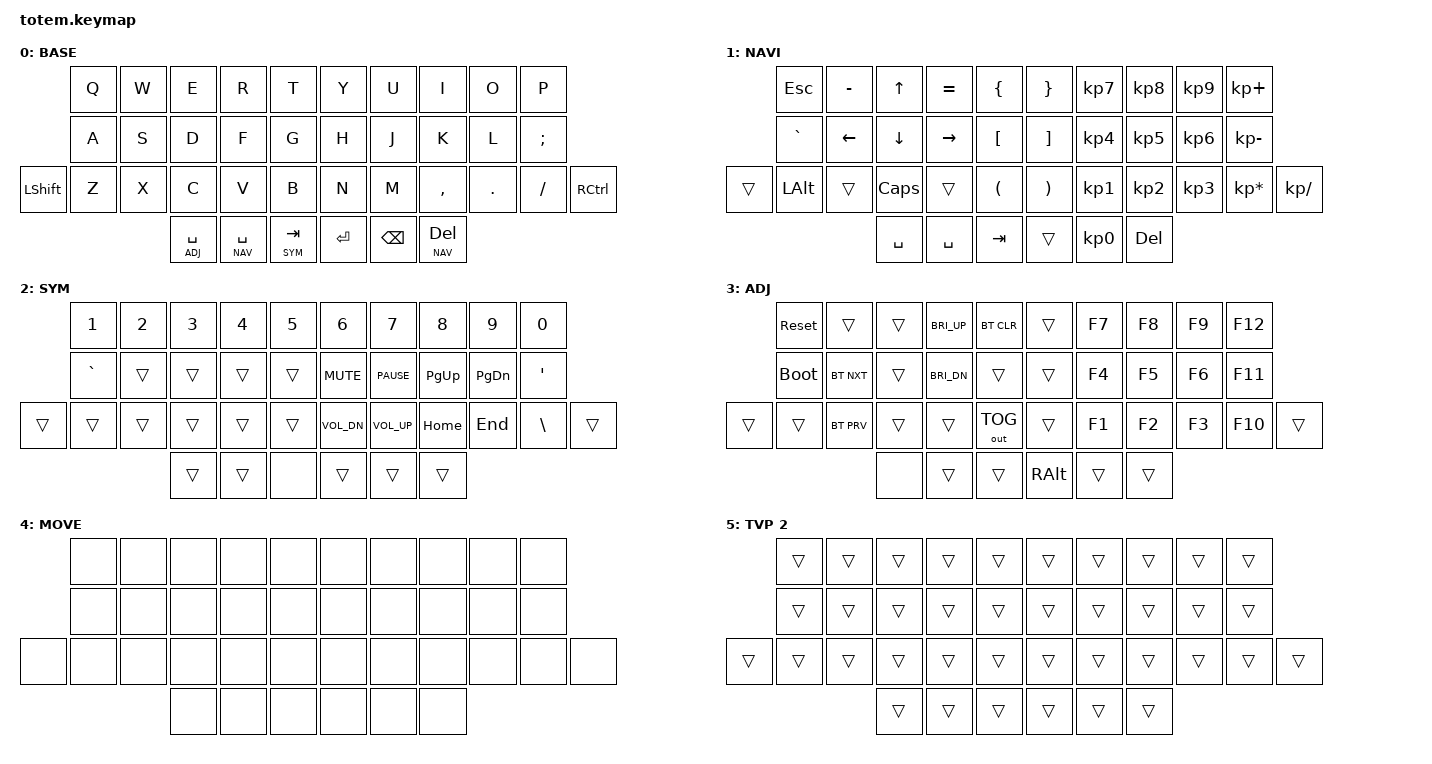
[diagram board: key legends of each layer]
//
//                                                        ▀▀▀▀▀     ▀▀▀▀▀          ▀▀█▀▀
//                                                        ▄▀▀▀▄  ▄  ▄▀▀▀▄  ▄  ▄▀▀▀▄  █  ▄▀▀▀▄
//                                                        █   █  █  █   █  █  █   █  █  █   █
//                                                         ▀▀▀   █   ▀▀▀   █   ▀▀▀   ▀   ▀▀▀
//                                                               █      ▄▄▄█▄▄▄    █   █  
//                                                               ▀      █  █  █     █▄█
//                                                             ▀▀▀▀▀    █  █  █      ▀
//                                                                      ▀  ▀  ▀
//
// ▄▄▄▄▄▄▄▄▄▄▄▄▄▄▄▄▄▄▄▄▄▄▄▄▄▄▄▄▄▄▄▄▄▄▄▄▄▄▄▄▄▄▄▄▄▄▄▄▄▄▄▄▄▄▄▄▄▄▄▄▄▄▄▄▄▄▄▄▄▄▄▄▄▄▄▄▄▄▄▄▄▄▄▄▄▄▄▄▄▄▄▄▄▄▄▄▄▄▄▄▄▄▄▄▄▄▄▄▄▄▄▄▄▄▄▄▄▄▄▄▄▄▄▄▄▄▄▄▄▄▄▄▄▄▄▄▄▄▄▄▄▄▄▄▄▄▄▄▄
       

#include <behaviors.dtsi>
#include <dt-bindings/zmk/keys.h>
#include <dt-bindings/zmk/bt.h>
#include <dt-bindings/zmk/outputs.h>

#define BASE 0
#define NAV  1
#define SYM  2
#define ADJ  3
#define MOV  4
#define TVP2 5

#define VOL_DWN C_VOL_DN
#define VOL_UP  C_VOL_UP
#define SPC     SPACE
#define KP_MNUS KP_MINUS
#define KP_MPLY KP_MULTIPLY

&mt {
  quick-tap-ms = <100>;
  global-quick-tap;
  flavor = "tap-preferred";
  tapping-term-ms = <170>;
};

/ {
     combos {
            compatible = "zmk,combos";
            combo_esc {
                timeout-ms = <50>;
                key-positions = <0 1>;
                bindings = <&kp ESC>;
            };
            combo_tvp {
                timeout-ms = <100>;
                key-positions = <11 12 13>;
                bindings = <&tog TVP2>;
            };
    };

    macros {
        gif: gif {
            label = "giphy";
            compatible = "zmk,behavior-macro";
            #binding-cells = <0>;
            bindings
                = <&macro_press &kp LSHFT>
                , <&macro_tap &kp N2>
                , <&macro_release &kp LSHFT>
                , <&macro_tap &kp G &kp I &kp F>
                ;
        };
    };

        keymap {
                compatible = "zmk,keymap";
// ▄▄▄▄▄▄▄▄▄▄▄▄▄▄▄▄▄▄▄▄▄▄▄▄▄▄▄▄▄▄▄▄▄▄▄▄▄▄▄▄▄▄▄▄▄▄▄▄▄▄▄▄▄▄▄▄▄▄▄▄▄▄▄▄▄▄▄▄▄▄▄▄▄▄▄▄▄▄▄▄▄▄▄▄▄▄▄▄▄▄▄▄▄▄▄▄▄▄▄▄▄▄▄▄▄▄▄▄▄▄▄▄▄▄▄▄▄▄▄▄▄▄▄▄▄▄▄▄▄▄▄▄▄▄▄▄▄▄▄▄▄▄▄▄▄▄▄▄▄

                base_layer {
// ┏━━━━━━━━━━━━━━━━━━━━━━━━━━━━━━━━━━━━━━━┓
label= "BASE"                              ;
// ┗━━━━━━━━━━━━━━━━━━━━━━━━━━━━━━━━━━━━━━━┛
//             ┏━━━━━━━━━━━┳━━━━━━━━━━━┳━━━━━━━━━━━┳━━━━━━━━━━━┳━━━━━━━━━━━┓   ┏━━━━━━━━━━━┳━━━━━━━━━━━┳━━━━━━━━━━━┳━━━━━━━━━━━┳━━━━━━━━━━━┓
//             ┃     Q     ┃     W     ┃     E     ┃     R     ┃     T     ┃   ┃     Y     ┃     U     ┃     I     ┃     O     ┃     P     ┃
//             ┣━━━━━━━━━━━╋━━━━━━━━━━━╋━━━━━━━━━━━╋━━━━━━━━━━━╋━━━━━━━━━━━┫   ┣━━━━━━━━━━━╋━━━━━━━━━━━╋━━━━━━━━━━━╋━━━━━━━━━━━╋━━━━━━━━━━━┫
//             ┃     A     ┃     S     ┃     D     ┃     F     ┃     G     ┃   ┃     H     ┃     J     ┃     K     ┃     L     ┃     ;     ┃
// ┏━━━━━━━━━━━╋━━━━━━━━━━━╋━━━━━━━━━━━╋━━━━━━━━━━━╋━━━━━━━━━━━╋━━━━━━━━━━━┫   ┣━━━━━━━━━━━╋━━━━━━━━━━━╋━━━━━━━━━━━╋━━━━━━━━━━━╋━━━━━━━━━━━╋━━━━━━━━━━━┓
// ┃   SHIFT   ┃     Z     ┃     X     ┃     C     ┃     V     ┃     B     ┃   ┃     N     ┃     M     ┃     ,     ┃     .     ┃     /     ┃   CTRL    ┃
// ┗━━━━━━━━━━━┻━━━━━━━━━━━┻━━━━━━━━━━━╋━━━━━━━━━━━╋━━━━━━━━━━━╋━━━━━━━━━━━┫   ┣━━━━━━━━━━━╋━━━━━━━━━━━╋━━━━━━━━━━━╋━━━━━━━━━━━┻━━━━━━━━━━━┻━━━━━━━━━━━┛
//                                     ┃    ADJ    ┃    NAV    ┃    SYM    ┃   ┃           ┃    MOV    ┃    NAV    ┃
//                                     ┃    SPC    ┃    SPC    ┃    TAB    ┃   ┃   ENTER   ┃   BSPC    ┃    DEL    ┃
//                                     ┗━━━━━━━━━━━┻━━━━━━━━━━━┻━━━━━━━━━━━┛   ┗━━━━━━━━━━━┻━━━━━━━━━━━┻━━━━━━━━━━━┛
 bindings = <
// ╷           ╷           ╷           ╷           ╷           ╷           ╷   ╷           ╷           ╷           ╷           ╷           ╷           ╷

                &kp Q       &kp W       &kp E       &kp R       &kp T           &kp Y       &kp U       &kp I       &kp O       &kp P
                &kp A       &kp S       &kp D       &kp F       &kp G           &kp H       &kp J       &kp K       &kp L       &kp SEMI
    &kp LSHFT   &kp Z       &kp X       &kp C       &kp V       &kp B           &kp N       &kp M       &kp COMMA   &kp DOT     &kp FSLH    &kp RCTRL
                                        &lt ADJ SPC &lt NAV SPC &lt SYM TAB     &kp RET     &kp BSPC    &lt NAV DEL
                        >;
                };

// ▄▄▄▄▄▄▄▄▄▄▄▄▄▄▄▄▄▄▄▄▄▄▄▄▄▄▄▄▄▄▄▄▄▄▄▄▄▄▄▄▄▄▄▄▄▄▄▄▄▄▄▄▄▄▄▄▄▄▄▄▄▄▄▄▄▄▄▄▄▄▄▄▄▄▄▄▄▄▄▄▄▄▄▄▄▄▄▄▄▄▄▄▄▄▄▄▄▄▄▄▄▄▄▄▄▄▄▄▄▄▄▄▄▄▄▄▄▄▄▄▄▄▄▄▄▄▄▄▄▄▄▄▄▄▄▄▄▄▄▄▄▄▄▄▄▄▄▄▄


                nav_layer {
// ┏━━━━━━━━━━━━━━━━━━━━━━━━━━━━━━━━━━━━━━━┓
label= "NAVI"                              ;
// ┗━━━━━━━━━━━━━━━━━━━━━━━━━━━━━━━━━━━━━━━┛             NAV                                               NAV
//             ┏━━━━━━━━━━━┳━━━━━━━━━━━┳━━━━━━━━━━━┳━━━━━━━━━━━┳━━━━━━━━━━━┓   ┏━━━━━━━━━━━┳━━━━━━━━━━━┳━━━━━━━━━━━┳━━━━━━━━━━━┳━━━━━━━━━━━┓
//             ┃    ESC    ┃    -      ┃     UP    ┃     =     ┃     {     ┃   ┃     }     ┃     7     ┃     8     ┃     9     ┃     +     ┃
//             ┣━━━━━━━━━━━╋━━━━━━━━━━━╋━━━━━━━━━━━╋━━━━━━━━━━━╋━━━━━━━━━━━┫   ┣━━━━━━━━━━━╋━━━━━━━━━━━╋━━━━━━━━━━━╋━━━━━━━━━━━╋━━━━━━━━━━━┫
//             ┃     `     ┃   LEFT    ┃    DOWN   ┃   RIGHT   ┃     [     ┃   ┃     ]     ┃     4     ┃     5     ┃     6     ┃     -     ┃
// ┏━━━━━━━━━━━╋━━━━━━━━━━━╋━━━━━━━━━━━╋━━━━━━━━━━━╋━━━━━━━━━━━╋━━━━━━━━━━━┫   ┣━━━━━━━━━━━╋━━━━━━━━━━━╋━━━━━━━━━━━╋━━━━━━━━━━━╋━━━━━━━━━━━╋━━━━━━━━━━━┓
// ┃           ┃    ALT    ┃           ┃  C LOCK   ┃           ┃     (     ┃   ┃     )     ┃     1     ┃     2     ┃     3     ┃     *     ┃     /     ┃
// ┗━━━━━━━━━━━┻━━━━━━━━━━━┻━━━━━━━━━━━╋━━━━━━━━━━━╋━━━━━━━━━━━╋━━━━━━━━━━━┫   ┣━━━━━━━━━━━╋━━━━━━━━━━━╋━━━━━━━━━━━╋━━━━━━━━━━━┻━━━━━━━━━━━┻━━━━━━━━━━━┛
//                                     ┃   SPACE   ┃ {[SPACE]} ┃    TAB    ┃   ┃    RET    ┃     0     ┃  {[DEL]}  ┃
//                                     ┗━━━━━━━━━━━┻━━━━━━━━━━━┻━━━━━━━━━━━┛   ┗━━━━━━━━━━━┻━━━━━━━━━━━┻━━━━━━━━━━━┛
 bindings = <
// ╷           ╷           ╷           ╷           ╷           ╷           ╷   ╷           ╷           ╷           ╷           ╷           ╷           ╷

                &kp ESC     &kp MINUS   &kp UP      &kp EQUAL   &kp LBRC        &kp RBRC    &kp KP_N7   &kp KP_N8   &kp KP_N9   &kp KP_PLUS
                &kp GRAVE   &kp LEFT    &kp DOWN    &kp RIGHT   &kp LBKT        &kp RBKT    &kp KP_N4   &kp KP_N5   &kp KP_N6   &kp KP_MNUS
    &trans      &kp LALT    &trans      &kp CAPS    &trans      &kp LPAR        &kp RPAR    &kp KP_N1   &kp KP_N2   &kp KP_N3   &kp KP_MPLY &kp KP_DIVIDE    
                                        &kp SPACE   &kp SPACE   &kp TAB         &trans      &kp KP_N0   &kp DEL
                        >;
                };

// ▄▄▄▄▄▄▄▄▄▄▄▄▄▄▄▄▄▄▄▄▄▄▄▄▄▄▄▄▄▄▄▄▄▄▄▄▄▄▄▄▄▄▄▄▄▄▄▄▄▄▄▄▄▄▄▄▄▄▄▄▄▄▄▄▄▄▄▄▄▄▄▄▄▄▄▄▄▄▄▄▄▄▄▄▄▄▄▄▄▄▄▄▄▄▄▄▄▄▄▄▄▄▄▄▄▄▄▄▄▄▄▄▄▄▄▄▄▄▄▄▄▄▄▄▄▄▄▄▄▄▄▄▄▄▄▄▄▄▄▄▄▄▄▄▄▄▄▄▄


                sim_layer {
// ┏━━━━━━━━━━━━━━━━━━━━━━━━━━━━━━━━━━━━━━━┓
label= "SYM"                               ;
// ┗━━━━━━━━━━━━━━━━━━━━━━━━━━━━━━━━━━━━━━━┛                        SYM
//             ┏━━━━━━━━━━━┳━━━━━━━━━━━┳━━━━━━━━━━━┳━━━━━━━━━━━┳━━━━━━━━━━━┓   ┏━━━━━━━━━━━┳━━━━━━━━━━━┳━━━━━━━━━━━┳━━━━━━━━━━━┳━━━━━━━━━━━┓
//             ┃     1     ┃     2     ┃     3     ┃     4     ┃     5     ┃   ┃     6     ┃     7     ┃     8     ┃     9     ┃     0     ┃
//             ┣━━━━━━━━━━━╋━━━━━━━━━━━╋━━━━━━━━━━━╋━━━━━━━━━━━╋━━━━━━━━━━━┫   ┣━━━━━━━━━━━╋━━━━━━━━━━━╋━━━━━━━━━━━╋━━━━━━━━━━━╋━━━━━━━━━━━┫
//             ┃     `     ┃           ┃           ┃           ┃           ┃   ┃   MUTE    ┃   PAUSE   ┃   PG UP   ┃   PG DN   ┃     '     ┃
// ┏━━━━━━━━━━━╋━━━━━━━━━━━╋━━━━━━━━━━━╋━━━━━━━━━━━╋━━━━━━━━━━━╋━━━━━━━━━━━┫   ┣━━━━━━━━━━━╋━━━━━━━━━━━╋━━━━━━━━━━━╋━━━━━━━━━━━╋━━━━━━━━━━━╋━━━━━━━━━━━┓
// ┃           ┃           ┃           ┃           ┃           ┃           ┃   ┃   VOL-    ┃   VOL+    ┃   HOME    ┃    END    ┃     \     ┃           ┃
// ┗━━━━━━━━━━━┻━━━━━━━━━━━┻━━━━━━━━━━━╋━━━━━━━━━━━╋━━━━━━━━━━━╋━━━━━━━━━━━┫   ┣━━━━━━━━━━━╋━━━━━━━━━━━╋━━━━━━━━━━━╋━━━━━━━━━━━┻━━━━━━━━━━━┻━━━━━━━━━━━┛
//                                     ┃           ┃           ┃  {[()]}   ┃   ┃           ┃           ┃           ┃
//                                     ┗━━━━━━━━━━━┻━━━━━━━━━━━┻━━━━━━━━━━━┛   ┗━━━━━━━━━━━┻━━━━━━━━━━━┻━━━━━━━━━━━┛
 bindings = <
// ╷           ╷           ╷           ╷           ╷           ╷           ╷   ╷           ╷           ╷           ╷           ╷           ╷           ╷

                &kp N1      &kp N2      &kp N3      &kp N4      &kp N5          &kp N6      &kp N7         &kp N8     &kp N9       &kp N0
                &kp GRAVE   &trans      &trans      &trans      &trans          &kp C_MUTE  &kp C_PAUSE    &kp PG_UP  &kp PG_DN    &kp APOS
    &trans      &trans      &trans      &trans      &trans      &trans          &kp VOL_DWN &kp VOL_UP     &kp HOME   &kp END      &kp BSLH   &trans
                                        &trans      &trans      &none           &trans      &trans         &trans
                        >;
                };

// ▄▄▄▄▄▄▄▄▄▄▄▄▄▄▄▄▄▄▄▄▄▄▄▄▄▄▄▄▄▄▄▄▄▄▄▄▄▄▄▄▄▄▄▄▄▄▄▄▄▄▄▄▄▄▄▄▄▄▄▄▄▄▄▄▄▄▄▄▄▄▄▄▄▄▄▄▄▄▄▄▄▄▄▄▄▄▄▄▄▄▄▄▄▄▄▄▄▄▄▄▄▄▄▄▄▄▄▄▄▄▄▄▄▄▄▄▄▄▄▄▄▄▄▄▄▄▄▄▄▄▄▄▄▄▄▄▄▄▄▄▄▄▄▄▄▄▄▄▄


                adjust_layer {
// ┏━━━━━━━━━━━━━━━━━━━━━━━━━━━━━━━━━━━━━━━┓
label= "ADJ"                               ;
// ┗━━━━━━━━━━━━━━━━━━━━━━━━━━━━━━━━━━━━━━━┛ADJ
//             ┏━━━━━━━━━━━┳━━━━━━━━━━━┳━━━━━━━━━━━┳━━━━━━━━━━━┳━━━━━━━━━━━┓   ┏━━━━━━━━━━━┳━━━━━━━━━━━┳━━━━━━━━━━━┳━━━━━━━━━━━┳━━━━━━━━━━━┓
//             ┃   RESET   ┃           ┃           ┃  BRI UP   ┃  BT CLEAR ┃   ┃           ┃    F7     ┃    F8     ┃    F9     ┃    F12    ┃
//             ┣━━━━━━━━━━━╋━━━━━━━━━━━╋━━━━━━━━━━━╋━━━━━━━━━━━╋━━━━━━━━━━━┫   ┣━━━━━━━━━━━╋━━━━━━━━━━━╋━━━━━━━━━━━╋━━━━━━━━━━━╋━━━━━━━━━━━┫
//             ┃ BOOTLOAD  ┃ BT NEXT   ┃           ┃  BRI DN   ┃           ┃   ┃           ┃    F4     ┃    F5     ┃    F6     ┃    F11    ┃
// ┏━━━━━━━━━━━╋━━━━━━━━━━━╋━━━━━━━━━━━╋━━━━━━━━━━━╋━━━━━━━━━━━╋━━━━━━━━━━━┫   ┣━━━━━━━━━━━╋━━━━━━━━━━━╋━━━━━━━━━━━╋━━━━━━━━━━━╋━━━━━━━━━━━╋━━━━━━━━━━━┓
// ┃           ┃           ┃ BT PREV   ┃           ┃           ┃  OUT TOG  ┃   ┃           ┃    F1     ┃    F2     ┃    F3     ┃    F10    ┃           ┃
// ┗━━━━━━━━━━━┻━━━━━━━━━━━┻━━━━━━━━━━━╋━━━━━━━━━━━╋━━━━━━━━━━━╋━━━━━━━━━━━┫   ┣━━━━━━━━━━━╋━━━━━━━━━━━╋━━━━━━━━━━━╋━━━━━━━━━━━┻━━━━━━━━━━━┻━━━━━━━━━━━┛
//                                     ┃  {[()]}   ┃           ┃           ┃   ┃    ALT    ┃           ┃           ┃
//                                     ┗━━━━━━━━━━━┻━━━━━━━━━━━┻━━━━━━━━━━━┛   ┗━━━━━━━━━━━┻━━━━━━━━━━━┻━━━━━━━━━━━┛
 bindings = <
// ╷           ╷           ╷           ╷           ╷           ╷           ╷   ╷           ╷           ╷           ╷           ╷           ╷           ╷

                &sys_reset  &trans      &trans     &kp C_BRI_UP &bt BT_CLR      &trans      &kp F7      &kp F8      &kp F9      &kp F12
                &bootloader &bt BT_NXT  &trans     &kp C_BRI_DN &trans          &trans      &kp F4      &kp F5      &kp F6      &kp F11
    &trans      &trans      &bt BT_PRV  &trans     &trans       &out OUT_TOG    &trans      &kp F1      &kp F2      &kp F3      &kp F10     &trans
                                        &none      &trans       &trans          &kp RALT    &trans      &trans
                        >;
                };

// ▄▄▄▄▄▄▄▄▄▄▄▄▄▄▄▄▄▄▄▄▄▄▄▄▄▄▄▄▄▄▄▄▄▄▄▄▄▄▄▄▄▄▄▄▄▄▄▄▄▄▄▄▄▄▄▄▄▄▄▄▄▄▄▄▄▄▄▄▄▄▄▄▄▄▄▄▄▄▄▄▄▄▄▄▄▄▄▄▄▄▄▄▄▄▄▄▄▄▄▄▄▄▄▄▄▄▄▄▄▄▄▄▄▄▄▄▄▄▄▄▄▄▄▄▄▄▄▄▄▄▄▄▄▄▄▄▄▄▄▄▄▄▄▄▄▄▄▄▄


                move_layer {
// ┏━━━━━━━━━━━━━━━━━━━━━━━━━━━━━━━━━━━━━━━┓
label= "MOVE"                              ;
// ┗━━━━━━━━━━━━━━━━━━━━━━━━━━━━━━━━━━━━━━━┛
//             ┏━━━━━━━━━━━┳━━━━━━━━━━━┳━━━━━━━━━━━┳━━━━━━━━━━━┳━━━━━━━━━━━┓   ┏━━━━━━━━━━━┳━━━━━━━━━━━┳━━━━━━━━━━━┳━━━━━━━━━━━┳━━━━━━━━━━━┓
//             ┃           ┃           ┃           ┃           ┃           ┃   ┃           ┃           ┃           ┃           ┃           ┃
//             ┣━━━━━━━━━━━╋━━━━━━━━━━━╋━━━━━━━━━━━╋━━━━━━━━━━━╋━━━━━━━━━━━┫   ┣━━━━━━━━━━━╋━━━━━━━━━━━╋━━━━━━━━━━━╋━━━━━━━━━━━╋━━━━━━━━━━━┫
//             ┃           ┃           ┃           ┃           ┃           ┃   ┃           ┃           ┃           ┃           ┃           ┃
// ┏━━━━━━━━━━━╋━━━━━━━━━━━╋━━━━━━━━━━━╋━━━━━━━━━━━╋━━━━━━━━━━━╋━━━━━━━━━━━┫   ┣━━━━━━━━━━━╋━━━━━━━━━━━╋━━━━━━━━━━━╋━━━━━━━━━━━╋━━━━━━━━━━━╋━━━━━━━━━━━┓
// ┃           ┃           ┃           ┃           ┃           ┃           ┃   ┃           ┃           ┃           ┃           ┃           ┃           ┃
// ┗━━━━━━━━━━━┻━━━━━━━━━━━┻━━━━━━━━━━━╋━━━━━━━━━━━╋━━━━━━━━━━━╋━━━━━━━━━━━┫   ┣━━━━━━━━━━━╋━━━━━━━━━━━╋━━━━━━━━━━━╋━━━━━━━━━━━┻━━━━━━━━━━━┻━━━━━━━━━━━┛
//                                     ┃           ┃           ┃           ┃   ┃           ┃  {[()]}   ┃           ┃
//                                     ┗━━━━━━━━━━━┻━━━━━━━━━━━┻━━━━━━━━━━━┛   ┗━━━━━━━━━━━┻━━━━━━━━━━━┻━━━━━━━━━━━┛
 bindings = <
// ╷           ╷           ╷           ╷           ╷           ╷           ╷   ╷           ╷           ╷           ╷           ╷           ╷           ╷

                &none       &none       &none       &none       &none           &none       &none       &none       &none       &none
                &none       &none       &none       &none       &none           &none       &none       &none       &none       &none
    &none       &none       &none       &none       &none       &none           &none       &none       &none       &none       &none       &none        
                                        &none       &none       &none           &none       &none       &none    
                        >;
                };

// ▄▄▄▄▄▄▄▄▄▄▄▄▄▄▄▄▄▄▄▄▄▄▄▄▄▄▄▄▄▄▄▄▄▄▄▄▄▄▄▄▄▄▄▄▄▄▄▄▄▄▄▄▄▄▄▄▄▄▄▄▄▄▄▄▄▄▄▄▄▄▄▄▄▄▄▄▄▄▄▄▄▄▄▄▄▄▄▄▄▄▄▄▄▄▄▄▄▄▄▄▄▄▄▄▄▄▄▄▄▄▄▄▄▄▄▄▄▄▄▄▄▄▄▄▄▄▄▄▄▄▄▄▄▄▄▄▄▄▄▄▄▄▄▄▄▄▄▄▄


                tvp2_layer {
// ┏━━━━━━━━━━━━━━━━━━━━━━━━━━━━━━━━━━━━━━━┓
label= "TVP 2"                             ;
// ┗━━━━━━━━━━━━━━━━━━━━━━━━━━━━━━━━━━━━━━━┛
//             ┏━━━━━━━━━━━┳━━━━━━━━━━━┳━━━━━━━━━━━┳━━━━━━━━━━━┳━━━━━━━━━━━┓   ┏━━━━━━━━━━━┳━━━━━━━━━━━┳━━━━━━━━━━━┳━━━━━━━━━━━┳━━━━━━━━━━━┓
//             ┃           ┃           ┃           ┃           ┃           ┃   ┃           ┃           ┃           ┃           ┃           ┃
//             ┣━━━━━━━━━━━╋━━━━━━━━━━━╋━━━━━━━━━━━╋━━━━━━━━━━━╋━━━━━━━━━━━┫   ┣━━━━━━━━━━━╋━━━━━━━━━━━╋━━━━━━━━━━━╋━━━━━━━━━━━╋━━━━━━━━━━━┫
//             ┃           ┃           ┃           ┃           ┃           ┃   ┃           ┃           ┃           ┃           ┃           ┃
// ┏━━━━━━━━━━━╋━━━━━━━━━━━╋━━━━━━━━━━━╋━━━━━━━━━━━╋━━━━━━━━━━━╋━━━━━━━━━━━┫   ┣━━━━━━━━━━━╋━━━━━━━━━━━╋━━━━━━━━━━━╋━━━━━━━━━━━╋━━━━━━━━━━━╋━━━━━━━━━━━┓
// ┃           ┃           ┃           ┃           ┃           ┃           ┃   ┃           ┃           ┃           ┃           ┃           ┃           ┃
// ┗━━━━━━━━━━━┻━━━━━━━━━━━┻━━━━━━━━━━━╋━━━━━━━━━━━╋━━━━━━━━━━━╋━━━━━━━━━━━┫   ┣━━━━━━━━━━━╋━━━━━━━━━━━╋━━━━━━━━━━━╋━━━━━━━━━━━┻━━━━━━━━━━━┻━━━━━━━━━━━┛
//                                     ┃           ┃           ┃           ┃   ┃           ┃           ┃           ┃
//                                     ┗━━━━━━━━━━━┻━━━━━━━━━━━┻━━━━━━━━━━━┛   ┗━━━━━━━━━━━┻━━━━━━━━━━━┻━━━━━━━━━━━┛
 bindings = <
// ╷           ╷           ╷           ╷           ╷           ╷           ╷   ╷           ╷           ╷           ╷           ╷           ╷           ╷

                &trans      &trans      &trans      &trans      &trans          &trans      &trans      &trans      &trans      &trans
                &trans      &trans      &trans      &trans      &trans          &trans      &trans      &trans      &trans      &trans
    &trans      &trans      &trans      &trans      &trans      &trans          &trans      &trans      &trans      &trans      &trans      &trans       
                                        &trans      &trans      &trans          &trans      &trans      &trans   
                        >;
                };
        };
};
